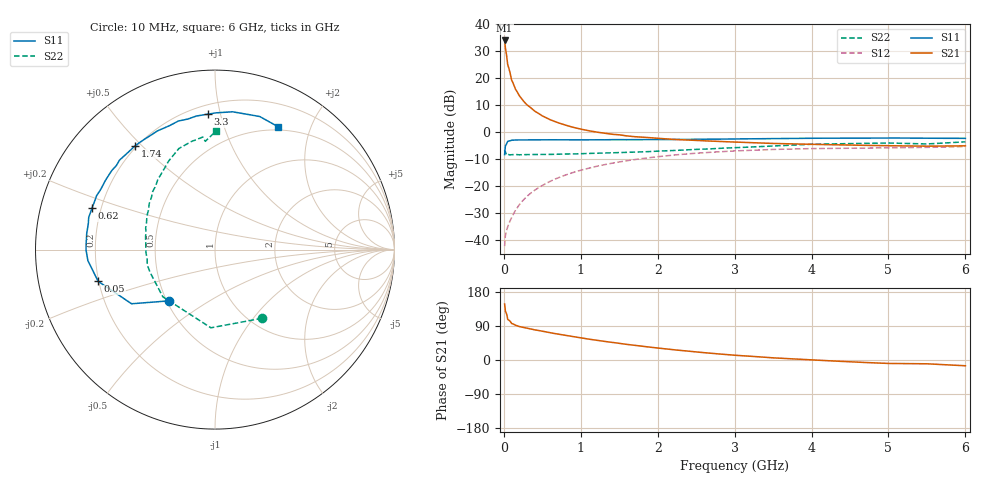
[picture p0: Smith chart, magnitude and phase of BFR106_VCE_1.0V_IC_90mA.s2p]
! Infineon Technologies  Discrete & RF Semiconductors
! BFR106
! VCE =  1.0 V,  IC =  90 mA
! Common Emitter S-Parameters:  Nov 2015
# GHz  S  MA  R  50
!  f  S11  S21  S12  S22
! GHz  MAG  ANG  MAG  ANG  MAG  ANG  MAG  ANG
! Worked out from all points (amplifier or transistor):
!   210 points, 10 MHz to 6 GHz, reference 50 ohm
!   highest |S21| = 34.0 dB at 10 MHz (marker M1)
!   |S21| within 3 dB of that: start of sweep to 22 MHz
!   unconditionally stable (mu >= 1): 67.08 MHz to end of sweep
!   at 185 MHz: K = 1.29, MAG = 17.8 dB, |S12| = -27.5 dB
!   at 1.52 GHz: K = 1.20, MAG = 2.3 dB, |S12| = -10.9 dB
!   at 6 GHz: K = 1.04, MAG = -1.1 dB, |S12| = -5.3 dB
!   S11 on the Smith chart (normalised r, x): 10 MHz: 0.51, -0.34; 50 MHz: 0.20, -0.13; 620 MHz: 0.16, +0.16; 1.74 GHz: 0.19, +0.48; 3.3 GHz: 0.26, +0.92; 6 GHz: 0.46, +1.54
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0.01  0.3831 -131.8  50.29 147.9  0.0077 60.1  0.464 -55.6
0.02  0.5541 -147.0  36.98 129.0  0.0121 52.6  0.4363 -93.0
0.05  0.6746 -164.8  18.02 107.2  0.0176 51.5  0.3919 -137.9
0.1  0.7108 -175.0  9.372 96.5  0.026 60.5  0.3833 -159.9
0.15  0.7185 -179.5  6.328 91.7  0.0352 65.4  0.3869 -167.5
0.2  0.7187 177.3  4.786 88.3  0.0449 68.7  0.3814 -172.1
0.24  0.7185 175.7  4.02 86.3  0.0526 69.8  0.3832 -175.0
0.26  0.7188 174.8  3.709 85.4  0.0565 70.2  0.384 -176.1
0.3  0.7203 173.0  3.226 83.7  0.0644 70.8  0.3849 -177.5
0.4  0.7194 169.1  2.466 79.6  0.0838 70.8  0.3858 178.8
0.5  0.7261 165.7  2.007 75.9  0.1027 70.4  0.3869 175.8
0.62  0.7232 161.4  1.669 71.3  0.1261 68.8  0.3878 173.2
0.8  0.7249 155.5  1.35 65.1  0.1604 66.1  0.3943 169.0
1.02  0.7216 148.1  1.125 57.9  0.2006 62.1  0.3997 164.6
1.3  0.7219 139.7  0.96 49.2  0.2488 56.6  0.4098 158.6
1.74  0.7294 127.4  0.819 37.7  0.3163 47.9  0.4296 150.0
2.02  0.7299 120.1  0.765 31.2  0.354 42.4  0.4478 144.7
3.1  0.7522 96.2  0.649 11.3  0.4548 23.0  0.5228 124.1
3.3  0.7558 92.9  0.633 8.6  0.4663 19.9  0.5391 120.7
4.1  0.7736 81.5  0.592 -0.7  0.4978 8.4  0.6007 108.2
5.1  0.7798 70.4  0.559 -9.3  0.5146 -2.3  0.6256 96.0
6  0.7691 62.8  0.559 -15.2  0.5422 -10.4  0.6623 89.3
